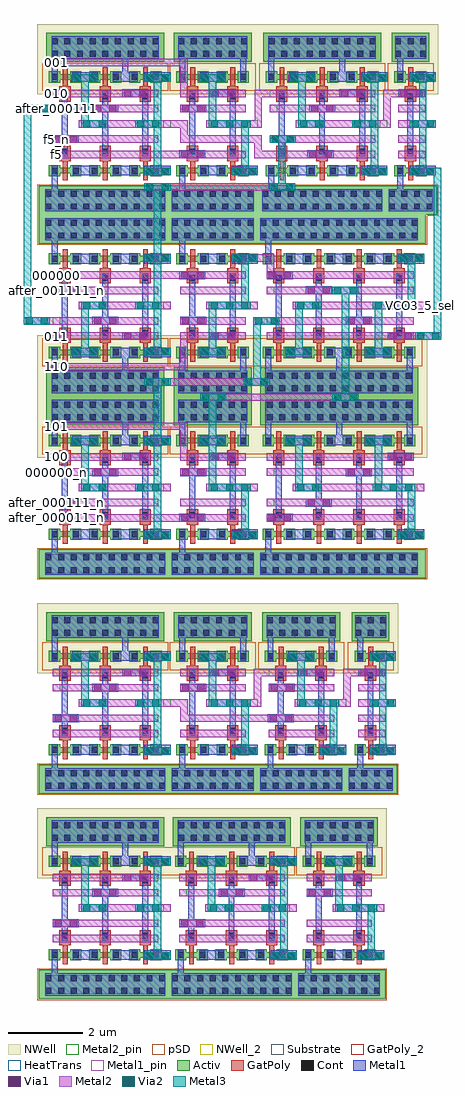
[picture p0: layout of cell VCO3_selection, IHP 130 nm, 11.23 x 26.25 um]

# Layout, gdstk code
from math import pi, radians
import gdstk
lib = gdstk.Library(unit=1e-6, precision=1e-09)
def R(c, l, rs):  # rectangles x0, y0, x1, y1
    for r in rs: c.add(gdstk.rectangle(r[:2], r[2:], *l))
def A(c, l, x, y, w, h, nx, ny, dx, dy):  # array of equal rectangles
    R(c, l, [(x+i*dx, y+j*dy, x+i*dx+w, y+j*dy+h) for i in range(nx) for j in range(ny)])
Activ = (1, 0)
GatPoly = (5, 0)
GatPoly_2 = (5, 2)
Cont = (6, 0)
Metal1 = (8, 0)
Metal1_pin = (8, 2)
Metal2 = (10, 0)
Metal2_pin = (10, 2)
pSD = (14, 0)
Via1 = (19, 0)
Via2 = (29, 0)
Metal3 = (30, 0)
NWell = (31, 0)
NWell_2 = (31, 2)
Substrate = (40, 0)
HeatTrans = (51, 0)

ntap1_2 = lib.new_cell('ntap1$2')
R(ntap1_2, Activ, [(0,0,3.17,0.78)])
A(ntap1_2, Cont, 0.145, 0.14, 0.16, 0.16, 9, 2, 0.34, 0.34)
R(ntap1_2, Metal1, [(0.145,0.09,3.025,0.69)])
R(ntap1_2, Metal1_pin, [(0.145,0.09,3.025,0.69), (0.145,0.14,3.025,0.64)])
R(ntap1_2, NWell, [(-0.24,-0.24,3.41,1.02), (0,0,3.17,0.78)])
R(ntap1_2, NWell_2, [(0,0,3.17,0.78)])
ntap1_2.add(gdstk.Label('well', (1.585,0.01), layer=63, texttype=0))
ntap1_2.add(gdstk.Label('well', (1.585,0.01), layer=31, texttype=0))

ptap1_2 = lib.new_cell('ptap1$2')
R(ptap1_2, Activ, [(0,0,3.59,0.78)])
A(ptap1_2, Cont, 0.185, 0.14, 0.16, 0.16, 10, 2, 0.34, 0.34)
R(ptap1_2, Metal1, [(0.185,0.09,3.405,0.69), (0.185,0.14,3.405,0.64)])
R(ptap1_2, Metal1_pin, [(0.185,0.14,3.405,0.64)])
R(ptap1_2, pSD, [(-0.03,-0.03,3.62,0.81)])
R(ptap1_2, Substrate, [(0,0,3.59,0.78)])
ptap1_2.add(gdstk.Label('sub!', (1.795,0.01), layer=63, texttype=0))
ptap1_2.add(gdstk.Label('sub!', (1.795,0.01), layer=40, texttype=0))

nmos_2 = lib.new_cell('nmos$2')
R(nmos_2, Activ, [(0,0,0.3,0.3), (0.57,0,0.87,0.3), (0,0.075,0.87,0.225)])
R(nmos_2, GatPoly, [(0.37,-0.105,0.5,0.405)])
R(nmos_2, GatPoly_2, [(0.37,-0.105,0.5,0.405)])
R(nmos_2, Cont, [(0.07,0.07,0.23,0.23), (0.64,0.07,0.8,0.23)])
R(nmos_2, Metal1, [(0.07,0.02,0.23,0.28), (0.64,0.02,0.8,0.28)])
R(nmos_2, Metal1_pin, [(0.07,0.02,0.23,0.28), (0.64,0.02,0.8,0.28)])
R(nmos_2, HeatTrans, [(0.37,-0.105,0.5,0.405)])
nmos_2.add(gdstk.Label('nmos', (0.435,0.15), layer=63, texttype=0))
nmos_2.add(gdstk.Label('nmos', (0.435,0.15), layer=51, texttype=0))

pmos_2 = lib.new_cell('pmos$2')
R(pmos_2, Activ, [(0,0,0.3,0.3), (0.57,0,0.87,0.3), (0,0.075,0.87,0.225)])
R(pmos_2, GatPoly, [(0.37,-0.105,0.5,0.405), (0.37,-0.105,0.5,0.405)])
R(pmos_2, Cont, [(0.07,0.07,0.23,0.23), (0.64,0.07,0.8,0.23)])
R(pmos_2, Metal1, [(0.07,0.02,0.23,0.28), (0.07,0.02,0.23,0.28), (0.64,0.02,0.8,0.28), (0.64,0.02,0.8,0.28)])
R(pmos_2, pSD, [(-0.18,-0.225,1.05,0.525)])
R(pmos_2, NWell, [(-0.31,-0.31,1.18,0.61)])
R(pmos_2, Substrate, [(0.57,0,0.87,0.3)])
R(pmos_2, HeatTrans, [(0.37,-0.105,0.5,0.405)])
pmos_2.add(gdstk.Label('pmos', (0.435,0.15), layer=63, texttype=0))
pmos_2.add(gdstk.Label('pmos', (0.435,0.15), layer=51, texttype=0))

via_9 = lib.new_cell('Via$9')
R(via_9, GatPoly, [(-0.15,-0.15,0.15,0.15)])
R(via_9, Cont, [(-0.08,-0.08,0.08,0.08)])
R(via_9, Metal1, [(-0.13,-0.08,0.13,0.08)])

via_2_2 = lib.new_cell('Via$2$2')
R(via_2_2, Metal1, [(-0.105,-0.35,0.105,0.35)])
R(via_2_2, Metal2, [(-0.1,-0.35,0.1,0.35)])
R(via_2_2, Via1, [(-0.095,-0.3,0.095,-0.11), (-0.095,0.11,0.095,0.3)])

via_8_1 = lib.new_cell('Via$8$1')
R(via_8_1, Metal2, [(-0.35,-0.1,0.35,0.1)])
R(via_8_1, Via2, [(-0.3,-0.095,-0.11,0.095), (0.11,-0.095,0.3,0.095)])
R(via_8_1, Metal3, [(-0.35,-0.1,0.35,0.1)])

via_4_2 = lib.new_cell('Via$4$2')
R(via_4_2, Metal2, [(-0.1,-0.35,0.1,0.35)])
R(via_4_2, Via2, [(-0.095,-0.3,0.095,-0.11), (-0.095,0.11,0.095,0.3)])
R(via_4_2, Metal3, [(-0.1,-0.35,0.1,0.35)])

via_6_1 = lib.new_cell('Via$6$1')
R(via_6_1, Metal1, [(-0.35,-0.105,0.35,0.105)])
R(via_6_1, Metal2, [(-0.35,-0.1,0.35,0.1)])
R(via_6_1, Via1, [(-0.3,-0.095,-0.11,0.095), (0.11,-0.095,0.3,0.095)])

nand_3in = lib.new_cell('NAND_3in')
A(nand_3in, GatPoly, 9.375, 7.165, 0.3, 0.11, 3, 2, 1.08, 1.9)
R(nand_3in, Metal1, [(9.735,6.78,10.405,7.04), (10.815,6.78,11.485,7.04), (11.665,6.78,12.365,7.04), (9.72,9.3,10.42,9.56), (10.815,9.3,11.485,9.56), (11.665,9.3,12.365,9.56)])
R(nand_3in, Metal1_pin, [(9.16,6.015,9.36,6.215), (9.325,10.12,9.525,10.32)])
R(nand_3in, Metal2_pin, [(9.2,7.66,9.4,7.86), (12.165,8.07,12.365,8.27), (9.2,8.48,9.4,8.68), (9.2,8.89,9.4,9.09)])
nand_3in.add(gdstk.FlexPath([(11.685,7.555),(11.685,8.785)], 0.16, ends="flush", simple_path=True, layer=8, datatype=0))  # Metal1
nand_3in.add(gdstk.FlexPath([(11.15,9.56),(11.15,9.925)], 0.16, ends="flush", simple_path=True, layer=8, datatype=0))  # Metal1
nand_3in.add(gdstk.FlexPath([(9.245,9.56),(9.245,10.525)], 0.16, ends="flush", simple_path=True, layer=8, datatype=0))  # Metal1
nand_3in.add(gdstk.FlexPath([(9.245,6.78),(9.245,6.415)], 0.16, ends="flush", simple_path=True, layer=8, datatype=0))  # Metal1
nand_3in.add(gdstk.FlexPath([(9.525,7.555),(9.525,8.785)], 0.16, ends="flush", simple_path=True, layer=8, datatype=0))  # Metal1
nand_3in.add(gdstk.FlexPath([(10.605,7.555),(10.605,8.785)], 0.16, ends="flush", simple_path=True, layer=8, datatype=0))  # Metal1
nand_3in.add(gdstk.FlexPath([(9.9,8.17),(12.365,8.17)], 0.2, ends="flush", simple_path=True, layer=10, datatype=0))  # Metal2
nand_3in.add(gdstk.FlexPath([(11.81,9.405),(11.645,9.405)], 0.2, ends="flush", simple_path=True, layer=10, datatype=0))  # Metal2
nand_3in.add(gdstk.FlexPath([(11.81,6.885),(11.645,6.885)], 0.2, ends="flush", simple_path=True, layer=10, datatype=0))  # Metal2
nand_3in.add(gdstk.FlexPath([(9.2,7.76),(12.035,7.76)], 0.2, ends="flush", simple_path=True, layer=10, datatype=0))  # Metal2
nand_3in.add(gdstk.FlexPath([(9.2,7.35),(12.035,7.35)], 0.2, ends="flush", simple_path=True, layer=10, datatype=0))  # Metal2
nand_3in.add(gdstk.FlexPath([(9.2,8.99),(12.035,8.99)], 0.2, ends="flush", simple_path=True, layer=10, datatype=0))  # Metal2
nand_3in.add(gdstk.FlexPath([(9.2,8.58),(12.035,8.58)], 0.2, ends="flush", simple_path=True, layer=10, datatype=0))  # Metal2
nand_3in.add(gdstk.FlexPath([(9.865,9.405),(9.7,9.405)], 0.2, ends="flush", simple_path=True, layer=10, datatype=0))  # Metal2
nand_3in.add(gdstk.FlexPath([(10.43,8.58),(10.43,8.58)], 0.2, ends="flush", simple_path=True, layer=10, datatype=0))  # Metal2
nand_3in.add(gdstk.FlexPath([(12.015,6.885),(12.015,8.17)], 0.2, ends="flush", simple_path=True, layer=30, datatype=0))  # Metal3
nand_3in.add(gdstk.FlexPath([(12.015,9.405),(12.015,8.17)], 0.2, ends="flush", simple_path=True, layer=30, datatype=0))  # Metal3
nand_3in.add(gdstk.FlexPath([(10.07,9.305),(10.07,8.07)], 0.2, ends="flush", simple_path=True, layer=30, datatype=0))  # Metal3
nand_3in.add(gdstk.Reference(ntap1_2, (9.025,9.835)))
nand_3in.add(gdstk.Reference(ptap1_2, (8.815,5.725)))
nand_3in.add(gdstk.Reference(nmos_2, (10.175,6.76)))
nand_3in.add(gdstk.Reference(pmos_2, (10.175,9.28)))
nand_3in.add(gdstk.Reference(nmos_2, (9.095,6.76)))
nand_3in.add(gdstk.Reference(pmos_2, (9.095,9.28)))
nand_3in.add(gdstk.Reference(via_9, (9.525,8.915), rotation=pi/2))
nand_3in.add(gdstk.Reference(via_9, (10.605,8.915), rotation=pi/2))
nand_3in.add(gdstk.Reference(via_9, (10.605,7.425), rotation=3*pi/2))
nand_3in.add(gdstk.Reference(via_9, (9.525,7.425), rotation=3*pi/2))
nand_3in.add(gdstk.Reference(via_2_2, (10.61,8.58), rotation=3*pi/2))
nand_3in.add(gdstk.Reference(via_8_1, (10.32,8.17)))
nand_3in.add(gdstk.Reference(via_2_2, (10.07,9.405), rotation=3*pi/2))
nand_3in.add(gdstk.Reference(via_4_2, (10.07,9.405), rotation=3*pi/2))
nand_3in.add(gdstk.Reference(via_6_1, (11.415,8.99)))
nand_3in.add(gdstk.Reference(pmos_2, (11.255,9.28)))
nand_3in.add(gdstk.Reference(nmos_2, (11.255,6.76)))
nand_3in.add(gdstk.Reference(via_9, (11.685,8.915), rotation=pi/2))
nand_3in.add(gdstk.Reference(via_9, (11.685,7.425), rotation=3*pi/2))
nand_3in.add(gdstk.Reference(via_2_2, (9.55,7.76), rotation=3*pi/2))
nand_3in.add(gdstk.Reference(via_2_2, (12.015,9.405), rotation=3*pi/2))
nand_3in.add(gdstk.Reference(via_4_2, (12.015,9.405), rotation=3*pi/2))
nand_3in.add(gdstk.Reference(via_2_2, (12.015,6.885), rotation=3*pi/2))
nand_3in.add(gdstk.Reference(via_4_2, (12.015,6.885), rotation=3*pi/2))
nand_3in.add(gdstk.Reference(via_8_1, (11.765,8.17)))
nand_3in.add(gdstk.Label('c', (9.315,7.755), layer=10, texttype=25))
nand_3in.add(gdstk.Label('y', (12.265,8.17), layer=10, texttype=25))
nand_3in.add(gdstk.Label('b', (9.315,8.575), layer=10, texttype=25))
nand_3in.add(gdstk.Label('a', (9.3,8.99), layer=10, texttype=25))
nand_3in.add(gdstk.Label('VP', (9.295,10.22), layer=8, texttype=25))
nand_3in.add(gdstk.Label('GND', (9.26,6.115), layer=8, texttype=25))

via_4_1 = lib.new_cell('Via$4$1')
R(via_4_1, Metal2, [(-0.1,-0.35,0.1,0.35)])
R(via_4_1, Via2, [(-0.095,-0.3,0.095,-0.11), (-0.095,0.11,0.095,0.3)])
R(via_4_1, Metal3, [(-0.1,-0.35,0.1,0.35)])

via_2_1 = lib.new_cell('Via$2$1')
R(via_2_1, Metal1, [(-0.105,-0.35,0.105,0.35)])
R(via_2_1, Metal2, [(-0.1,-0.35,0.1,0.35)])
R(via_2_1, Via1, [(-0.095,-0.3,0.095,-0.11), (-0.095,0.11,0.095,0.3)])

ntap1_1 = lib.new_cell('ntap1$1')
R(ntap1_1, Activ, [(0,0,2.09,0.78)])
A(ntap1_1, Cont, 0.115, 0.14, 0.16, 0.16, 6, 2, 0.34, 0.34)
R(ntap1_1, Metal1, [(0.115,0.09,1.975,0.69)])
R(ntap1_1, Metal1_pin, [(0.115,0.09,1.975,0.69), (0.115,0.14,1.975,0.64)])
R(ntap1_1, NWell, [(-0.24,-0.24,2.33,1.02), (0,0,2.09,0.78)])
R(ntap1_1, NWell_2, [(0,0,2.09,0.78)])
ntap1_1.add(gdstk.Label('well', (1.045,0.01), layer=63, texttype=0))
ntap1_1.add(gdstk.Label('well', (1.045,0.01), layer=31, texttype=0))

ptap1_1 = lib.new_cell('ptap1$1')
R(ptap1_1, Activ, [(0,0,2.51,0.78)])
A(ptap1_1, Cont, 0.155, 0.14, 0.16, 0.16, 7, 2, 0.34, 0.34)
R(ptap1_1, Metal1, [(0.155,0.09,2.355,0.69), (0.155,0.14,2.355,0.64)])
R(ptap1_1, Metal1_pin, [(0.155,0.14,2.355,0.64)])
R(ptap1_1, pSD, [(-0.03,-0.03,2.54,0.81)])
R(ptap1_1, Substrate, [(0,0,2.51,0.78)])
ptap1_1.add(gdstk.Label('sub!', (1.255,0.01), layer=63, texttype=0))
ptap1_1.add(gdstk.Label('sub!', (1.255,0.01), layer=40, texttype=0))

nmos_1 = lib.new_cell('nmos$1')
R(nmos_1, Activ, [(0,0,0.3,0.3), (0.57,0,0.87,0.3), (0,0.075,0.87,0.225)])
R(nmos_1, GatPoly, [(0.37,-0.105,0.5,0.405)])
R(nmos_1, GatPoly_2, [(0.37,-0.105,0.5,0.405)])
R(nmos_1, Cont, [(0.07,0.07,0.23,0.23), (0.64,0.07,0.8,0.23)])
R(nmos_1, Metal1, [(0.07,0.02,0.23,0.28), (0.64,0.02,0.8,0.28)])
R(nmos_1, Metal1_pin, [(0.07,0.02,0.23,0.28), (0.64,0.02,0.8,0.28)])
R(nmos_1, HeatTrans, [(0.37,-0.105,0.5,0.405)])
nmos_1.add(gdstk.Label('nmos', (0.435,0.15), layer=63, texttype=0))
nmos_1.add(gdstk.Label('nmos', (0.435,0.15), layer=51, texttype=0))

pmos_1 = lib.new_cell('pmos$1')
R(pmos_1, Activ, [(0,0,0.3,0.3), (0.57,0,0.87,0.3), (0,0.075,0.87,0.225)])
R(pmos_1, GatPoly, [(0.37,-0.105,0.5,0.405), (0.37,-0.105,0.5,0.405)])
R(pmos_1, Cont, [(0.07,0.07,0.23,0.23), (0.64,0.07,0.8,0.23)])
R(pmos_1, Metal1, [(0.07,0.02,0.23,0.28), (0.07,0.02,0.23,0.28), (0.64,0.02,0.8,0.28), (0.64,0.02,0.8,0.28)])
R(pmos_1, pSD, [(-0.18,-0.225,1.05,0.525)])
R(pmos_1, NWell, [(-0.31,-0.31,1.18,0.61)])
R(pmos_1, Substrate, [(0.57,0,0.87,0.3)])
R(pmos_1, HeatTrans, [(0.37,-0.105,0.5,0.405)])
pmos_1.add(gdstk.Label('pmos', (0.435,0.15), layer=63, texttype=0))
pmos_1.add(gdstk.Label('pmos', (0.435,0.15), layer=51, texttype=0))

via_8 = lib.new_cell('Via$8')
R(via_8, GatPoly, [(-0.15,-0.15,0.15,0.15)])
R(via_8, Cont, [(-0.08,-0.08,0.08,0.08)])
R(via_8, Metal1, [(-0.13,-0.08,0.13,0.08)])

via_7_1 = lib.new_cell('Via$7$1')
R(via_7_1, Metal2, [(-0.555,-0.1,0.555,0.1)])
A(via_7_1, Via2, -0.505, -0.095, 0.19, 0.19, 3, 1, 0.41, 0)
R(via_7_1, Metal3, [(-0.555,-0.1,0.555,0.1)])

via_6 = lib.new_cell('Via$6')
R(via_6, Metal1, [(-0.35,-0.105,0.35,0.105)])
R(via_6, Metal2, [(-0.35,-0.1,0.35,0.1)])
R(via_6, Via1, [(-0.3,-0.095,-0.11,0.095), (0.11,-0.095,0.3,0.095)])

nand_2in = lib.new_cell('NAND_2in')
R(nand_2in, GatPoly, [(9.375,7.165,9.675,7.275), (10.455,7.165,10.755,7.275), (9.375,9.065,9.675,9.175), (10.455,9.065,10.755,9.175)])
R(nand_2in, Metal1, [(9.735,6.78,10.405,7.04), (10.585,6.78,11.285,7.04), (9.72,9.3,10.42,9.56)])
R(nand_2in, Metal1_pin, [(9.16,6.015,9.36,6.215), (9.325,10.12,9.525,10.32)])
R(nand_2in, Metal2_pin, [(11.085,8.07,11.285,8.27), (9.2,8.48,9.4,8.68), (9.2,8.89,9.4,9.09)])
nand_2in.add(gdstk.FlexPath([(9.245,9.56),(9.245,10.525)], 0.16, ends="flush", simple_path=True, layer=8, datatype=0))  # Metal1
nand_2in.add(gdstk.FlexPath([(10.895,9.56),(10.895,10.525)], 0.16, ends="flush", simple_path=True, layer=8, datatype=0))  # Metal1
nand_2in.add(gdstk.FlexPath([(9.245,6.78),(9.245,6.415)], 0.16, ends="flush", simple_path=True, layer=8, datatype=0))  # Metal1
nand_2in.add(gdstk.FlexPath([(9.525,7.555),(9.525,8.785)], 0.16, ends="flush", simple_path=True, layer=8, datatype=0))  # Metal1
nand_2in.add(gdstk.FlexPath([(10.605,7.555),(10.605,8.785)], 0.16, ends="flush", simple_path=True, layer=8, datatype=0))  # Metal1
nand_2in.add(gdstk.FlexPath([(9.9,8.17),(11.285,8.17)], 0.2, ends="flush", simple_path=True, layer=10, datatype=0))  # Metal2
nand_2in.add(gdstk.FlexPath([(10.895,6.91),(10.565,6.91)], 0.2, ends="flush", simple_path=True, layer=10, datatype=0))  # Metal2
nand_2in.add(gdstk.FlexPath([(9.865,9.405),(9.7,9.405)], 0.2, ends="flush", simple_path=True, layer=10, datatype=0))  # Metal2
nand_2in.add(gdstk.FlexPath([(10.43,8.58),(10.43,8.58)], 0.2, ends="flush", simple_path=True, layer=10, datatype=0))  # Metal2
nand_2in.add(gdstk.FlexPath([(9.2,8.99),(10.955,8.99)], 0.2, ends="flush", simple_path=True, layer=10, datatype=0))  # Metal2
nand_2in.add(gdstk.FlexPath([(9.2,8.58),(10.955,8.58)], 0.2, ends="flush", simple_path=True, layer=10, datatype=0))  # Metal2
nand_2in.add(gdstk.FlexPath([(9.2,7.76),(10.955,7.76)], 0.2, ends="flush", simple_path=True, layer=10, datatype=0))  # Metal2
nand_2in.add(gdstk.FlexPath([(9.2,7.35),(10.955,7.35)], 0.2, ends="flush", simple_path=True, layer=10, datatype=0))  # Metal2
nand_2in.add(gdstk.FlexPath([(10.07,9.305),(10.07,8.07)], 0.2, ends="flush", simple_path=True, layer=30, datatype=0))  # Metal3
nand_2in.add(gdstk.FlexPath([(10.935,6.885),(10.935,8.07)], 0.2, ends="flush", simple_path=True, layer=30, datatype=0))  # Metal3
nand_2in.add(gdstk.Reference(via_4_1, (10.935,6.885), rotation=3*pi/2))
nand_2in.add(gdstk.Reference(via_2_1, (10.935,6.885), rotation=3*pi/2))
nand_2in.add(gdstk.Reference(ntap1_1, (9.025,9.835)))
nand_2in.add(gdstk.Reference(ptap1_1, (8.815,5.725)))
nand_2in.add(gdstk.Reference(nmos_1, (10.175,6.76)))
nand_2in.add(gdstk.Reference(pmos_1, (10.175,9.28)))
nand_2in.add(gdstk.Reference(nmos_1, (9.095,6.76)))
nand_2in.add(gdstk.Reference(pmos_1, (9.095,9.28)))
nand_2in.add(gdstk.Reference(via_8, (9.525,8.915), rotation=pi/2))
nand_2in.add(gdstk.Reference(via_8, (10.605,8.915), rotation=pi/2))
nand_2in.add(gdstk.Reference(via_8, (10.605,7.425), rotation=3*pi/2))
nand_2in.add(gdstk.Reference(via_8, (9.525,7.425), rotation=3*pi/2))
nand_2in.add(gdstk.Reference(via_2_1, (9.55,8.58), rotation=3*pi/2))
nand_2in.add(gdstk.Reference(via_7_1, (10.525,8.17)))
nand_2in.add(gdstk.Reference(via_2_1, (10.07,9.405), rotation=3*pi/2))
nand_2in.add(gdstk.Reference(via_4_1, (10.07,9.405), rotation=3*pi/2))
nand_2in.add(gdstk.Reference(via_6, (10.345,8.99)))
nand_2in.add(gdstk.Label('y', (11.185,8.17), layer=10, texttype=25))
nand_2in.add(gdstk.Label('b', (9.315,8.575), layer=10, texttype=25))
nand_2in.add(gdstk.Label('a', (9.3,8.99), layer=10, texttype=25))
nand_2in.add(gdstk.Label('VP', (9.295,10.22), layer=8, texttype=25))
nand_2in.add(gdstk.Label('GND', (9.26,6.115), layer=8, texttype=25))

via_4 = lib.new_cell('Via$4')
R(via_4, Metal2, [(-0.1,-0.35,0.1,0.35)])
R(via_4, Via2, [(-0.095,-0.3,0.095,-0.11), (-0.095,0.11,0.095,0.3)])
R(via_4, Metal3, [(-0.1,-0.35,0.1,0.35)])

ntap1 = lib.new_cell('ntap1')
R(ntap1, Activ, [(0,0,1.01,0.78)])
A(ntap1, Cont, 0.085, 0.14, 0.16, 0.16, 3, 2, 0.34, 0.34)
R(ntap1, Metal1, [(0.085,0.09,0.925,0.69)])
R(ntap1, Metal1_pin, [(0.085,0.09,0.925,0.69), (0.085,0.14,0.925,0.64)])
R(ntap1, NWell, [(-0.24,-0.24,1.25,1.02), (0,0,1.01,0.78)])
R(ntap1, NWell_2, [(0,0,1.01,0.78)])
ntap1.add(gdstk.Label('well', (0.505,0.01), layer=63, texttype=0))
ntap1.add(gdstk.Label('well', (0.505,0.01), layer=31, texttype=0))

ptap1 = lib.new_cell('ptap1')
R(ptap1, Activ, [(0,0,1.43,0.78)])
A(ptap1, Cont, 0.125, 0.14, 0.16, 0.16, 4, 2, 0.34, 0.34)
R(ptap1, Metal1, [(0.125,0.09,1.305,0.69), (0.125,0.14,1.305,0.64)])
R(ptap1, Metal1_pin, [(0.125,0.14,1.305,0.64)])
R(ptap1, pSD, [(-0.03,-0.03,1.46,0.81)])
R(ptap1, Substrate, [(0,0,1.43,0.78)])
ptap1.add(gdstk.Label('sub!', (0.715,0.01), layer=63, texttype=0))
ptap1.add(gdstk.Label('sub!', (0.715,0.01), layer=40, texttype=0))

via_2 = lib.new_cell('Via$2')
R(via_2, Metal1, [(-0.105,-0.35,0.105,0.35)])
R(via_2, Metal2, [(-0.1,-0.35,0.1,0.35)])
R(via_2, Via1, [(-0.095,-0.3,0.095,-0.11), (-0.095,0.11,0.095,0.3)])

nmos = lib.new_cell('nmos')
R(nmos, Activ, [(0,0,0.3,0.3), (0.57,0,0.87,0.3), (0,0.075,0.87,0.225)])
R(nmos, GatPoly, [(0.37,-0.105,0.5,0.405)])
R(nmos, GatPoly_2, [(0.37,-0.105,0.5,0.405)])
R(nmos, Cont, [(0.07,0.07,0.23,0.23), (0.64,0.07,0.8,0.23)])
R(nmos, Metal1, [(0.07,0.02,0.23,0.28), (0.64,0.02,0.8,0.28)])
R(nmos, Metal1_pin, [(0.07,0.02,0.23,0.28), (0.64,0.02,0.8,0.28)])
R(nmos, HeatTrans, [(0.37,-0.105,0.5,0.405)])
nmos.add(gdstk.Label('nmos', (0.435,0.15), layer=63, texttype=0))
nmos.add(gdstk.Label('nmos', (0.435,0.15), layer=51, texttype=0))

pmos = lib.new_cell('pmos')
R(pmos, Activ, [(0,0,0.3,0.3), (0.57,0,0.87,0.3), (0,0.075,0.87,0.225)])
R(pmos, GatPoly, [(0.37,-0.105,0.5,0.405), (0.37,-0.105,0.5,0.405)])
R(pmos, Cont, [(0.07,0.07,0.23,0.23), (0.64,0.07,0.8,0.23)])
R(pmos, Metal1, [(0.07,0.02,0.23,0.28), (0.07,0.02,0.23,0.28), (0.64,0.02,0.8,0.28), (0.64,0.02,0.8,0.28)])
R(pmos, pSD, [(-0.18,-0.225,1.05,0.525)])
R(pmos, NWell, [(-0.31,-0.31,1.18,0.61)])
R(pmos, Substrate, [(0.57,0,0.87,0.3)])
R(pmos, HeatTrans, [(0.37,-0.105,0.5,0.405)])
pmos.add(gdstk.Label('pmos', (0.435,0.15), layer=63, texttype=0))
pmos.add(gdstk.Label('pmos', (0.435,0.15), layer=51, texttype=0))

via = lib.new_cell('Via')
R(via, GatPoly, [(-0.15,-0.15,0.15,0.15)])
R(via, Cont, [(-0.08,-0.08,0.08,0.08)])
R(via, Metal1, [(-0.13,-0.08,0.13,0.08)])

via_7 = lib.new_cell('Via$7')
R(via_7, Metal2, [(-0.35,-0.1,0.35,0.1)])
R(via_7, Via2, [(-0.3,-0.095,-0.11,0.095), (0.11,-0.095,0.3,0.095)])
R(via_7, Metal3, [(-0.35,-0.1,0.35,0.1)])

inverter = lib.new_cell('inverter')
R(inverter, GatPoly, [(9.375,7.165,9.675,7.275), (9.375,9.065,9.675,9.175)])
R(inverter, Metal1, [(9.505,6.78,10.205,7.04), (9.505,9.3,10.205,9.56)])
R(inverter, Metal1_pin, [(9.16,6.015,9.36,6.215), (9.325,10.12,9.525,10.32)])
R(inverter, Metal2_pin, [(10.005,8.07,10.205,8.27), (9.2,8.89,9.4,9.09)])
inverter.add(gdstk.FlexPath([(9.245,9.56),(9.245,10.525)], 0.16, ends="flush", simple_path=True, layer=8, datatype=0))  # Metal1
inverter.add(gdstk.FlexPath([(9.245,6.78),(9.245,6.415)], 0.16, ends="flush", simple_path=True, layer=8, datatype=0))  # Metal1
inverter.add(gdstk.FlexPath([(9.525,7.555),(9.525,8.785)], 0.16, ends="flush", simple_path=True, layer=8, datatype=0))  # Metal1
inverter.add(gdstk.FlexPath([(9.65,9.405),(9.485,9.405)], 0.2, ends="flush", simple_path=True, layer=10, datatype=0))  # Metal2
inverter.add(gdstk.FlexPath([(9.65,6.885),(9.485,6.885)], 0.2, ends="flush", simple_path=True, layer=10, datatype=0))  # Metal2
inverter.add(gdstk.FlexPath([(9.2,8.99),(9.92,8.99)], 0.2, ends="flush", simple_path=True, layer=10, datatype=0))  # Metal2
inverter.add(gdstk.FlexPath([(9.2,8.58),(9.92,8.58)], 0.2, ends="flush", simple_path=True, layer=10, datatype=0))  # Metal2
inverter.add(gdstk.FlexPath([(9.2,7.76),(9.92,7.76)], 0.2, ends="flush", simple_path=True, layer=10, datatype=0))  # Metal2
inverter.add(gdstk.FlexPath([(9.2,7.35),(9.92,7.35)], 0.2, ends="flush", simple_path=True, layer=10, datatype=0))  # Metal2
inverter.add(gdstk.FlexPath([(9.2,8.17),(10.205,8.17)], 0.2, ends="flush", simple_path=True, layer=10, datatype=0))  # Metal2
inverter.add(gdstk.FlexPath([(9.855,6.885),(9.855,8.17)], 0.2, ends="flush", simple_path=True, layer=30, datatype=0))  # Metal3
inverter.add(gdstk.FlexPath([(9.855,9.405),(9.855,8.17)], 0.2, ends="flush", simple_path=True, layer=30, datatype=0))  # Metal3
inverter.add(gdstk.Reference(via_4, (9.855,6.885), rotation=3*pi/2))
inverter.add(gdstk.Reference(ntap1, (9.025,9.835)))
inverter.add(gdstk.Reference(ptap1, (8.815,5.725)))
inverter.add(gdstk.Reference(via_2, (9.855,6.885), rotation=3*pi/2))
inverter.add(gdstk.Reference(nmos, (9.095,6.76)))
inverter.add(gdstk.Reference(pmos, (9.095,9.28)))
inverter.add(gdstk.Reference(via, (9.525,8.915), rotation=pi/2))
inverter.add(gdstk.Reference(via, (9.525,7.425), rotation=3*pi/2))
inverter.add(gdstk.Reference(via_4, (9.855,9.405), rotation=3*pi/2))
inverter.add(gdstk.Reference(via_2, (9.555,8.99), rotation=3*pi/2))
inverter.add(gdstk.Reference(via_2, (9.855,9.405), rotation=3*pi/2))
inverter.add(gdstk.Reference(via_7, (9.855,8.17)))
inverter.add(gdstk.Label('out', (10.105,8.17), layer=10, texttype=25))
inverter.add(gdstk.Label('in', (9.3,8.99), layer=10, texttype=25))
inverter.add(gdstk.Label('VP', (9.295,10.22), layer=8, texttype=25))
inverter.add(gdstk.Label('GND', (9.26,6.115), layer=8, texttype=25))

ntap1_3 = lib.new_cell('ntap1$3')
R(ntap1_3, Activ, [(0,0,4.25,0.78)])
A(ntap1_3, Cont, 0.175, 0.14, 0.16, 0.16, 12, 2, 0.34, 0.34)
R(ntap1_3, Metal1, [(0.175,0.09,4.075,0.69)])
R(ntap1_3, Metal1_pin, [(0.175,0.09,4.075,0.69), (0.175,0.14,4.075,0.64)])
R(ntap1_3, NWell, [(-0.24,-0.24,4.49,1.02), (0,0,4.25,0.78)])
R(ntap1_3, NWell_2, [(0,0,4.25,0.78)])
ntap1_3.add(gdstk.Label('well', (2.125,0.01), layer=63, texttype=0))
ntap1_3.add(gdstk.Label('well', (2.125,0.01), layer=31, texttype=0))

ptap1_3 = lib.new_cell('ptap1$3')
R(ptap1_3, Activ, [(0,0,4.67,0.78)])
A(ptap1_3, Cont, 0.215, 0.14, 0.16, 0.16, 13, 2, 0.34, 0.34)
R(ptap1_3, Metal1, [(0.215,0.09,4.455,0.69), (0.215,0.14,4.455,0.64)])
R(ptap1_3, Metal1_pin, [(0.215,0.14,4.455,0.64)])
R(ptap1_3, pSD, [(-0.03,-0.03,4.7,0.81)])
R(ptap1_3, Substrate, [(0,0,4.67,0.78)])
ptap1_3.add(gdstk.Label('sub!', (2.335,0.01), layer=63, texttype=0))
ptap1_3.add(gdstk.Label('sub!', (2.335,0.01), layer=40, texttype=0))

nmos_3 = lib.new_cell('nmos$3')
R(nmos_3, Activ, [(0,0,0.3,0.3), (0.57,0,0.87,0.3), (0,0.075,0.87,0.225)])
R(nmos_3, GatPoly, [(0.37,-0.105,0.5,0.405)])
R(nmos_3, GatPoly_2, [(0.37,-0.105,0.5,0.405)])
R(nmos_3, Cont, [(0.07,0.07,0.23,0.23), (0.64,0.07,0.8,0.23)])
R(nmos_3, Metal1, [(0.07,0.02,0.23,0.28), (0.64,0.02,0.8,0.28)])
R(nmos_3, Metal1_pin, [(0.07,0.02,0.23,0.28), (0.64,0.02,0.8,0.28)])
R(nmos_3, HeatTrans, [(0.37,-0.105,0.5,0.405)])
nmos_3.add(gdstk.Label('nmos', (0.435,0.15), layer=63, texttype=0))
nmos_3.add(gdstk.Label('nmos', (0.435,0.15), layer=51, texttype=0))

pmos_3 = lib.new_cell('pmos$3')
R(pmos_3, Activ, [(0,0,0.3,0.3), (0.57,0,0.87,0.3), (0,0.075,0.87,0.225)])
R(pmos_3, GatPoly, [(0.37,-0.105,0.5,0.405), (0.37,-0.105,0.5,0.405)])
R(pmos_3, Cont, [(0.07,0.07,0.23,0.23), (0.64,0.07,0.8,0.23)])
R(pmos_3, Metal1, [(0.07,0.02,0.23,0.28), (0.07,0.02,0.23,0.28), (0.64,0.02,0.8,0.28), (0.64,0.02,0.8,0.28)])
R(pmos_3, pSD, [(-0.18,-0.225,1.05,0.525)])
R(pmos_3, NWell, [(-0.31,-0.31,1.18,0.61)])
R(pmos_3, Substrate, [(0.57,0,0.87,0.3)])
R(pmos_3, HeatTrans, [(0.37,-0.105,0.5,0.405)])
pmos_3.add(gdstk.Label('pmos', (0.435,0.15), layer=63, texttype=0))
pmos_3.add(gdstk.Label('pmos', (0.435,0.15), layer=51, texttype=0))

via_10 = lib.new_cell('Via$10')
R(via_10, GatPoly, [(-0.15,-0.15,0.15,0.15)])
R(via_10, Cont, [(-0.08,-0.08,0.08,0.08)])
R(via_10, Metal1, [(-0.13,-0.08,0.13,0.08)])

via_2_3 = lib.new_cell('Via$2$3')
R(via_2_3, Metal1, [(-0.105,-0.35,0.105,0.35)])
R(via_2_3, Metal2, [(-0.1,-0.35,0.1,0.35)])
R(via_2_3, Via1, [(-0.095,-0.3,0.095,-0.11), (-0.095,0.11,0.095,0.3)])

via_8_2 = lib.new_cell('Via$8$2')
R(via_8_2, Metal2, [(-0.35,-0.1,0.35,0.1)])
R(via_8_2, Via2, [(-0.3,-0.095,-0.11,0.095), (0.11,-0.095,0.3,0.095)])
R(via_8_2, Metal3, [(-0.35,-0.1,0.35,0.1)])

via_4_3 = lib.new_cell('Via$4$3')
R(via_4_3, Metal2, [(-0.1,-0.35,0.1,0.35)])
R(via_4_3, Via2, [(-0.095,-0.3,0.095,-0.11), (-0.095,0.11,0.095,0.3)])
R(via_4_3, Metal3, [(-0.1,-0.35,0.1,0.35)])

via_6_2 = lib.new_cell('Via$6$2')
R(via_6_2, Metal1, [(-0.35,-0.105,0.35,0.105)])
R(via_6_2, Metal2, [(-0.35,-0.1,0.35,0.1)])
R(via_6_2, Via1, [(-0.3,-0.095,-0.11,0.095), (0.11,-0.095,0.3,0.095)])

via_9_1 = lib.new_cell('Via$9$1')
R(via_9_1, Metal2, [(-0.555,-0.1,0.555,0.1)])
A(via_9_1, Via2, -0.505, -0.095, 0.19, 0.19, 3, 1, 0.41, 0)
R(via_9_1, Metal3, [(-0.555,-0.1,0.555,0.1)])

nand_4in = lib.new_cell('NAND_4in')
A(nand_4in, GatPoly, 9.375, 7.165, 0.3, 0.11, 4, 2, 1.08, 1.9)
A(nand_4in, Metal1, 9.735, 6.78, 0.67, 0.26, 3, 1, 1.08, 0)
R(nand_4in, Metal1, [(12.745,6.78,13.445,7.04), (9.72,9.3,10.42,9.56), (10.815,9.3,11.485,9.56), (11.865,9.3,12.565,9.56)])
R(nand_4in, Metal1_pin, [(9.16,6.015,9.36,6.215), (9.325,10.12,9.525,10.32)])
R(nand_4in, Metal2_pin, [(9.2,7.25,9.4,7.45), (9.2,7.66,9.4,7.86), (13.245,8.07,13.445,8.27), (9.2,8.48,9.4,8.68), (9.2,8.89,9.4,9.09)])
nand_4in.add(gdstk.FlexPath([(13.055,9.56),(13.055,10.525)], 0.16, ends="flush", simple_path=True, layer=8, datatype=0))  # Metal1
nand_4in.add(gdstk.FlexPath([(12.765,7.555),(12.765,8.785)], 0.16, ends="flush", simple_path=True, layer=8, datatype=0))  # Metal1
nand_4in.add(gdstk.FlexPath([(11.685,7.555),(11.685,8.785)], 0.16, ends="flush", simple_path=True, layer=8, datatype=0))  # Metal1
nand_4in.add(gdstk.FlexPath([(11.15,9.56),(11.15,9.925)], 0.16, ends="flush", simple_path=True, layer=8, datatype=0))  # Metal1
nand_4in.add(gdstk.FlexPath([(9.245,9.56),(9.245,10.525)], 0.16, ends="flush", simple_path=True, layer=8, datatype=0))  # Metal1
nand_4in.add(gdstk.FlexPath([(9.245,6.78),(9.245,6.415)], 0.16, ends="flush", simple_path=True, layer=8, datatype=0))  # Metal1
nand_4in.add(gdstk.FlexPath([(9.525,7.555),(9.525,8.785)], 0.16, ends="flush", simple_path=True, layer=8, datatype=0))  # Metal1
nand_4in.add(gdstk.FlexPath([(10.605,7.555),(10.605,8.785)], 0.16, ends="flush", simple_path=True, layer=8, datatype=0))  # Metal1
nand_4in.add(gdstk.FlexPath([(9.9,8.17),(13.445,8.17)], 0.2, ends="flush", simple_path=True, layer=10, datatype=0))  # Metal2
nand_4in.add(gdstk.FlexPath([(12.89,6.885),(12.725,6.885)], 0.2, ends="flush", simple_path=True, layer=10, datatype=0))  # Metal2
nand_4in.add(gdstk.FlexPath([(12.01,9.405),(11.845,9.405)], 0.2, ends="flush", simple_path=True, layer=10, datatype=0))  # Metal2
nand_4in.add(gdstk.FlexPath([(9.2,7.76),(13.155,7.76)], 0.2, ends="flush", simple_path=True, layer=10, datatype=0))  # Metal2
nand_4in.add(gdstk.FlexPath([(9.2,7.35),(13.155,7.35)], 0.2, ends="flush", simple_path=True, layer=10, datatype=0))  # Metal2
nand_4in.add(gdstk.FlexPath([(9.2,8.99),(13.155,8.99)], 0.2, ends="flush", simple_path=True, layer=10, datatype=0))  # Metal2
nand_4in.add(gdstk.FlexPath([(9.2,8.58),(13.155,8.58)], 0.2, ends="flush", simple_path=True, layer=10, datatype=0))  # Metal2
nand_4in.add(gdstk.FlexPath([(9.865,9.405),(9.7,9.405)], 0.2, ends="flush", simple_path=True, layer=10, datatype=0))  # Metal2
nand_4in.add(gdstk.FlexPath([(10.43,8.58),(10.43,8.58)], 0.2, ends="flush", simple_path=True, layer=10, datatype=0))  # Metal2
nand_4in.add(gdstk.FlexPath([(12.215,9.405),(12.215,8.07)], 0.2, ends="flush", simple_path=True, layer=30, datatype=0))  # Metal3
nand_4in.add(gdstk.FlexPath([(13.095,6.885),(13.095,8.27)], 0.2, ends="flush", simple_path=True, layer=30, datatype=0))  # Metal3
nand_4in.add(gdstk.FlexPath([(10.07,9.305),(10.07,8.07)], 0.2, ends="flush", simple_path=True, layer=30, datatype=0))  # Metal3
nand_4in.add(gdstk.Reference(ntap1_3, (9.025,9.835)))
nand_4in.add(gdstk.Reference(ptap1_3, (8.815,5.725)))
nand_4in.add(gdstk.Reference(nmos_3, (10.175,6.76)))
nand_4in.add(gdstk.Reference(pmos_3, (10.175,9.28)))
nand_4in.add(gdstk.Reference(nmos_3, (9.095,6.76)))
nand_4in.add(gdstk.Reference(pmos_3, (9.095,9.28)))
nand_4in.add(gdstk.Reference(via_10, (9.525,8.915), rotation=pi/2))
nand_4in.add(gdstk.Reference(via_10, (10.605,8.915), rotation=pi/2))
nand_4in.add(gdstk.Reference(via_10, (10.605,7.425), rotation=3*pi/2))
nand_4in.add(gdstk.Reference(via_10, (9.525,7.425), rotation=3*pi/2))
nand_4in.add(gdstk.Reference(via_2_3, (11.685,8.58), rotation=3*pi/2))
nand_4in.add(gdstk.Reference(via_8_2, (10.32,8.17)))
nand_4in.add(gdstk.Reference(via_2_3, (10.07,9.405), rotation=3*pi/2))
nand_4in.add(gdstk.Reference(via_4_3, (10.07,9.405), rotation=3*pi/2))
nand_4in.add(gdstk.Reference(via_6_2, (12.805,8.99)))
nand_4in.add(gdstk.Reference(pmos_3, (11.255,9.28)))
nand_4in.add(gdstk.Reference(nmos_3, (11.255,6.76)))
nand_4in.add(gdstk.Reference(via_10, (11.685,8.915), rotation=pi/2))
nand_4in.add(gdstk.Reference(via_10, (11.685,7.425), rotation=3*pi/2))
nand_4in.add(gdstk.Reference(via_2_3, (10.605,7.76), rotation=3*pi/2))
nand_4in.add(gdstk.Reference(via_2_3, (12.215,9.405), rotation=3*pi/2))
nand_4in.add(gdstk.Reference(via_4_3, (12.215,9.405), rotation=3*pi/2))
nand_4in.add(gdstk.Reference(via_2_3, (13.095,6.885), rotation=3*pi/2))
nand_4in.add(gdstk.Reference(via_4_3, (13.095,6.885), rotation=3*pi/2))
nand_4in.add(gdstk.Reference(via_9_1, (12.61,8.17)))
nand_4in.add(gdstk.Reference(via_2_3, (9.55,7.35), rotation=3*pi/2))
nand_4in.add(gdstk.Reference(pmos_3, (12.335,9.28)))
nand_4in.add(gdstk.Reference(nmos_3, (12.335,6.76)))
nand_4in.add(gdstk.Reference(via_10, (12.765,8.915), rotation=pi/2))
nand_4in.add(gdstk.Reference(via_10, (12.765,7.425), rotation=3*pi/2))
nand_4in.add(gdstk.Label('d', (9.315,7.345), layer=10, texttype=25))
nand_4in.add(gdstk.Label('y', (13.345,8.17), layer=10, texttype=25))
nand_4in.add(gdstk.Label('c', (9.315,7.755), layer=10, texttype=25))
nand_4in.add(gdstk.Label('b', (9.315,8.575), layer=10, texttype=25))
nand_4in.add(gdstk.Label('a', (9.3,8.99), layer=10, texttype=25))
nand_4in.add(gdstk.Label('VP', (9.295,10.22), layer=8, texttype=25))
nand_4in.add(gdstk.Label('GND', (9.26,6.115), layer=8, texttype=25))

via_12 = lib.new_cell('Via$12')
R(via_12, Metal1, [(-0.35,-0.105,0.35,0.105)])
R(via_12, Metal2, [(-0.35,-0.1,0.35,0.1)])
R(via_12, Via1, [(-0.3,-0.095,-0.11,0.095), (0.11,-0.095,0.3,0.095)])

via_14 = lib.new_cell('Via$14')
R(via_14, Metal2, [(-0.35,-0.1,0.35,0.1)])
R(via_14, Via2, [(-0.3,-0.095,-0.11,0.095), (0.11,-0.095,0.3,0.095)])
R(via_14, Metal3, [(-0.35,-0.1,0.35,0.1)])

via_16 = lib.new_cell('Via$16')
R(via_16, Metal2, [(-0.35,-0.1,0.35,0.1)])
R(via_16, Via2, [(-0.3,-0.095,-0.11,0.095), (0.11,-0.095,0.3,0.095)])
R(via_16, Metal3, [(-0.35,-0.1,0.35,0.1)])

via_18 = lib.new_cell('Via$18')
R(via_18, Metal2, [(-0.35,-0.1,0.35,0.1)])
R(via_18, Via2, [(-0.3,-0.095,-0.11,0.095), (0.11,-0.095,0.3,0.095)])
R(via_18, Metal3, [(-0.35,-0.1,0.35,0.1)])

vco3_selection = lib.new_cell('VCO3_selection')
R(vco3_selection, Metal2_pin, [(44.97,44.17,45.17,44.37), (44.97,44.58,45.17,44.78), (44.97,45.4,45.17,45.6), (44.97,45.81,45.17,46.01), (44.97,46.635,45.17,46.835), (44.965,48.235,45.165,48.435), (44.97,49.06,45.17,49.26), (54.765,49.88,54.965,50.08), (44.97,50.29,45.17,50.49), (44.97,50.7,45.17,50.9), (44.97,53.95,45.17,54.15), (44.97,54.36,45.17,54.56), (44.97,55.18,45.17,55.38), (44.97,55.59,45.17,55.79), (44.97,56.415,45.17,56.615)])
vco3_selection.add(gdstk.FlexPath([(48.035,54.87),(48.5,54.87),(48.5,54.36)], 0.2, ends="flush", simple_path=True, layer=10, datatype=0))  # Metal2
vco3_selection.add(gdstk.FlexPath([(47.195,54.05),(48.545,54.05)], 0.2, ends="flush", simple_path=True, layer=10, datatype=0))  # Metal2
vco3_selection.add(gdstk.FlexPath([(48.725,54.045),(48.725,54.045)], 0.2, ends="flush", simple_path=True, layer=10, datatype=0))  # Metal2
vco3_selection.add(gdstk.FlexPath([(48.5,55.69),(48.5,56.515),(47.915,56.515)], 0.2, ends="flush", simple_path=True, layer=10, datatype=0))  # Metal2
vco3_selection.add(gdstk.FlexPath([(47.925,56.515),(44.97,56.515)], 0.2, ends="flush", simple_path=True, layer=10, datatype=0))  # Metal2
vco3_selection.add(gdstk.FlexPath([(49.93,54.46),(50.485,54.46),(50.485,54.05),(50.92,54.05)], 0.2, ends="flush", simple_path=True, layer=10, datatype=0))  # Metal2
vco3_selection.add(gdstk.FlexPath([(50.305,54.87),(50.495,54.87),(50.495,55.69),(50.94,55.69)], 0.2, ends="flush", simple_path=True, layer=10, datatype=0))  # Metal2
vco3_selection.add(gdstk.FlexPath([(51.075,54.05),(51.075,54.05)], 0.2, ends="flush", simple_path=True, layer=10, datatype=0))  # Metal2
vco3_selection.add(gdstk.FlexPath([(53.77,54.87),(53.955,54.87),(53.955,55.69),(54.365,55.69)], 0.2, ends="flush", simple_path=True, layer=10, datatype=0))  # Metal2
vco3_selection.add(gdstk.FlexPath([(45.07,49.57),(44.345,49.57)], 0.2, ends="flush", simple_path=True, layer=10, datatype=0))  # Metal2
vco3_selection.add(gdstk.FlexPath([(45.03,55.28),(44.78,55.28)], 0.2, ends="flush", simple_path=True, layer=10, datatype=0))  # Metal2
vco3_selection.add(gdstk.FlexPath([(47.99,53.175),(51.135,53.175)], 0.2, ends="flush", simple_path=True, layer=10, datatype=0))  # Metal2
vco3_selection.add(gdstk.FlexPath([(54.855,49.16),(54.64,49.16)], 0.2, ends="flush", simple_path=True, layer=10, datatype=0))  # Metal2
vco3_selection.add(gdstk.FlexPath([(49.29,47.515),(52.84,47.515)], 0.2, ends="flush", simple_path=True, layer=10, datatype=0))  # Metal2
vco3_selection.add(gdstk.FlexPath([(47.16,44.27),(48.575,44.27)], 0.2, ends="flush", simple_path=True, layer=10, datatype=0))  # Metal2
vco3_selection.add(gdstk.FlexPath([(47.63,50.8),(48.565,50.8)], 0.2, ends="flush", simple_path=True, layer=10, datatype=0))  # Metal2
vco3_selection.add(gdstk.FlexPath([(48.5,49.16),(48.5,48.335),(47.645,48.335)], 0.2, ends="flush", simple_path=True, layer=10, datatype=0))  # Metal2
vco3_selection.add(gdstk.FlexPath([(47.675,48.335),(44.965,48.335)], 0.2, ends="flush", simple_path=True, layer=10, datatype=0))  # Metal2
vco3_selection.add(gdstk.FlexPath([(48.725,50.8),(48.725,50.8)], 0.2, ends="flush", simple_path=True, layer=10, datatype=0))  # Metal2
vco3_selection.add(gdstk.FlexPath([(50.34,51.265),(50.82,51.265),(50.82,50.7)], 0.2, ends="flush", simple_path=True, layer=10, datatype=0))  # Metal2
vco3_selection.add(gdstk.FlexPath([(47.785,47.925),(50.545,47.925)], 0.2, ends="flush", simple_path=True, layer=10, datatype=0))  # Metal2
vco3_selection.add(gdstk.FlexPath([(48.725,44.27),(48.725,44.27)], 0.2, ends="flush", simple_path=True, layer=10, datatype=0))  # Metal2
vco3_selection.add(gdstk.FlexPath([(48.5,45.91),(48.5,46.735),(47.985,46.735)], 0.2, ends="flush", simple_path=True, layer=10, datatype=0))  # Metal2
vco3_selection.add(gdstk.FlexPath([(48.025,46.735),(44.97,46.735)], 0.2, ends="flush", simple_path=True, layer=10, datatype=0))  # Metal2
vco3_selection.add(gdstk.FlexPath([(48.035,39.29),(48.5,39.29),(48.5,38.78)], 0.2, ends="flush", simple_path=True, layer=10, datatype=0))  # Metal2
vco3_selection.add(gdstk.FlexPath([(50.315,39.29),(50.47,39.29),(50.47,40.11),(50.88,40.11)], 0.2, ends="flush", simple_path=True, layer=10, datatype=0))  # Metal2
vco3_selection.add(gdstk.FlexPath([(49.97,38.88),(50.835,38.88)], 0.2, ends="flush", simple_path=True, layer=10, datatype=0))  # Metal2
vco3_selection.add(gdstk.FlexPath([(51.105,38.88),(51.105,38.88)], 0.2, ends="flush", simple_path=True, layer=10, datatype=0))  # Metal2
vco3_selection.add(gdstk.FlexPath([(52.68,39.29),(52.88,39.29),(52.88,40.11),(53.345,40.11)], 0.2, ends="flush", simple_path=True, layer=10, datatype=0))  # Metal2
vco3_selection.add(gdstk.FlexPath([(44.285,49.57),(44.285,55.28)], 0.2, ends="flush", simple_path=True, layer=30, datatype=0))  # Metal3
vco3_selection.add(gdstk.FlexPath([(47.785,51.265),(47.785,53.105)], 0.2, ends="flush", simple_path=True, layer=30, datatype=0))  # Metal3
vco3_selection.add(gdstk.FlexPath([(51.135,53.175),(51.135,54.46)], 0.2, ends="flush", simple_path=True, layer=30, datatype=0))  # Metal3
vco3_selection.add(gdstk.FlexPath([(55.125,53.585),(55.32,53.585),(55.32,49.16)], 0.2, ends="flush", simple_path=True, layer=30, datatype=0))  # Metal3
vco3_selection.add(gdstk.FlexPath([(47.785,46.325),(47.785,47.965)], 0.2, ends="flush", simple_path=True, layer=30, datatype=0))  # Metal3
vco3_selection.add(gdstk.FlexPath([(50.465,47.925),(50.465,49.57)], 0.2, ends="flush", simple_path=True, layer=30, datatype=0))  # Metal3
vco3_selection.add(gdstk.FlexPath([(49.27,46.325),(49.27,47.515)], 0.2, ends="flush", simple_path=True, layer=30, datatype=0))  # Metal3
vco3_selection.add(gdstk.FlexPath([(52.84,47.515),(52.84,50.39)], 0.2, ends="flush", simple_path=True, layer=30, datatype=0))  # Metal3
vco3_selection.add(gdstk.Reference(nand_3in, (35.77,36.92)))
vco3_selection.add(gdstk.Reference(nand_2in, (39.2,46.7)))
vco3_selection.add(gdstk.Reference(nand_3in, (35.77,46.7)))
vco3_selection.add(gdstk.Reference(nand_3in, (41.605,46.7)))
vco3_selection.add(gdstk.Reference(inverter, (45.065,46.7)))
vco3_selection.add(gdstk.Reference(nand_3in, (35.77,58.15), x_reflection=True))
vco3_selection.add(gdstk.Reference(nand_2in, (39.2,58.15), x_reflection=True))
vco3_selection.add(gdstk.Reference(nand_2in, (39.2,36.92)))
vco3_selection.add(gdstk.Reference(nand_4in, (41.52,58.15), x_reflection=True))
vco3_selection.add(gdstk.Reference(nand_3in, (35.77,25.605)))
vco3_selection.add(gdstk.Reference(nand_3in, (39.17,25.605)))
vco3_selection.add(gdstk.Reference(nand_2in, (42.6,25.605)))
vco3_selection.add(gdstk.Reference(nand_4in, (41.52,36.92)))
vco3_selection.add(gdstk.Reference(via_12, (48.725,54.05)))
vco3_selection.add(gdstk.Reference(via_12, (52.17,54.05)))
vco3_selection.add(gdstk.Reference(via_14, (44.535,49.57)))
vco3_selection.add(gdstk.Reference(via_16, (44.535,55.28)))
vco3_selection.add(gdstk.Reference(via_18, (47.785,53.175)))
vco3_selection.add(gdstk.Reference(via_14, (51.135,53.175)))
vco3_selection.add(gdstk.Reference(via_16, (51.155,54.46)))
vco3_selection.add(gdstk.Reference(via_16, (55.07,49.16)))
vco3_selection.add(gdstk.Reference(via_18, (49.29,47.515)))
vco3_selection.add(gdstk.Reference(via_12, (48.725,50.8)))
vco3_selection.add(gdstk.Reference(via_16, (47.785,47.925)))
vco3_selection.add(gdstk.Reference(via_18, (50.45,47.925)))
vco3_selection.add(gdstk.Reference(via_16, (50.715,49.57)))
vco3_selection.add(gdstk.Reference(via_14, (52.84,47.515)))
vco3_selection.add(gdstk.Reference(via_16, (52.84,50.39)))
vco3_selection.add(gdstk.Reference(via_12, (48.725,44.27)))
vco3_selection.add(gdstk.Reference(inverter, (43.99,31.12)))
vco3_selection.add(gdstk.Reference(nand_2in, (41.58,31.12)))
vco3_selection.add(gdstk.Reference(nand_2in, (39.2,31.12)))
vco3_selection.add(gdstk.Reference(nand_3in, (35.77,31.12)))
vco3_selection.add(gdstk.Reference(via_12, (51.105,38.88)))
vco3_selection.add(gdstk.Label('010', (45.07,55.69), layer=10, texttype=25))
vco3_selection.add(gdstk.Label('after_000111', (45.07,55.28), layer=10, texttype=25))
vco3_selection.add(gdstk.Label('f5_n', (45.07,54.46), layer=10, texttype=25))
vco3_selection.add(gdstk.Label('f5', (45.07,54.05), layer=10, texttype=25))
vco3_selection.add(gdstk.Label('001', (45.07,56.515), layer=10, texttype=25))
vco3_selection.add(gdstk.Label('011', (45.07,49.16), layer=10, texttype=25))
vco3_selection.add(gdstk.Label('after_001111_n', (45.07,50.39), layer=10, texttype=25))
vco3_selection.add(gdstk.Label('000000', (45.07,50.8), layer=10, texttype=25))
vco3_selection.add(gdstk.Label('110', (45.065,48.335), layer=10, texttype=25))
vco3_selection.add(gdstk.Label('100', (45.07,45.91), layer=10, texttype=25))
vco3_selection.add(gdstk.Label('000000_n', (45.07,45.5), layer=10, texttype=25))
vco3_selection.add(gdstk.Label('after_000111_n', (45.07,44.68), layer=10, texttype=25))
vco3_selection.add(gdstk.Label('VCO3_5_sel', (54.865,49.98), layer=10, texttype=25))
vco3_selection.add(gdstk.Label('after_000011_n', (45.07,44.27), layer=10, texttype=25))
vco3_selection.add(gdstk.Label('101', (45.07,46.735), layer=10, texttype=25))

lib.write_gds('VCO3_selection.gds')
